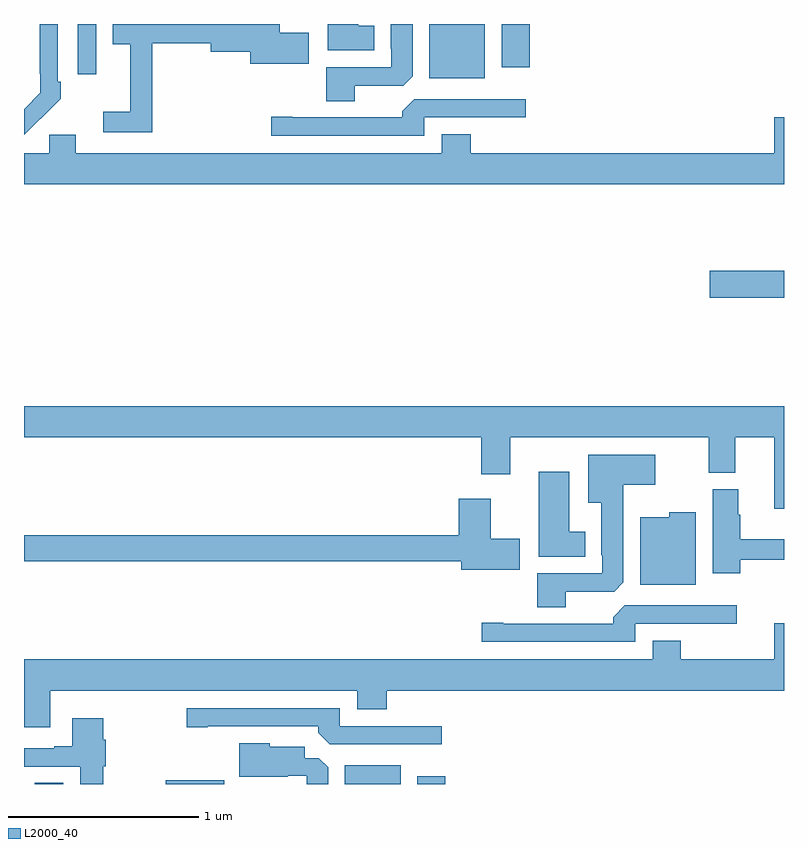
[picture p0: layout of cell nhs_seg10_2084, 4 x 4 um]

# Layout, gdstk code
import gdstk
lib = gdstk.Library(unit=1e-6, precision=1e-09)
def R(c, l, rs):  # rectangles x0, y0, x1, y1
    for r in rs: c.add(gdstk.rectangle(r[:2], r[2:], *l))
def P(c, l, *ps):  # polygons
    for p in ps: c.add(gdstk.Polygon(p, *l))
L2000_40 = (2000, 40)

nhs_seg10_2084 = lib.new_cell('nhs_seg10_2084')
R(nhs_seg10_2084, L2000_40, [(221.057,1290.5,221.206,1290.506), (221.747,1290.5,222.055,1290.52), (222.689,1290.5,222.982,1290.598), (223.07,1290.5,223.217,1290.541), (224.61,1293.059,225,1293.201), (223.133,1294.214,223.426,1294.5), (221.283,1294.236,221.379,1294.5), (223.514,1294.272,223.661,1294.5)])
P(nhs_seg10_2084, L2000_40, [(222.742,1294.176),(222.996,1294.176),(223.045,1294.225),(223.045,1294.5),(222.929,1294.5),(222.929,1294.369),(222.933,1294.369),(222.933,1294.272),(222.59,1294.272),(222.59,1294.093),(222.742,1294.093)],
  [(221.675,1294.4),(221.984,1294.4),(221.984,1294.355),(222.191,1294.355),(222.191,1294.292),(222.499,1294.292),(222.499,1294.455),(222.346,1294.455),(222.346,1294.5),(221.468,1294.5),(221.468,1294.394),(221.558,1294.394),(221.558,1294.039),(221.418,1294.039),(221.418,1293.93),(221.675,1293.93)],
  [(222.844,1294.492),(222.76,1294.492),(222.76,1294.5),(222.599,1294.5),(222.599,1294.361),(222.844,1294.361)],
  [(221.087,1294.003),(221.088,1294.002),(221.193,1294.107),(221.193,1294.195),(221.178,1294.195),(221.178,1294.5),(221.082,1294.5),(221.082,1294.237),(221.085,1294.237),(221.085,1294.137),(221,1294.052),(221,1293.916)],
  [(223.107,1294.008),(223.642,1294.008),(223.642,1294.104),(223.053,1294.104),(222.992,1294.042),(222.992,1294.008),(222.412,1294.008),(222.412,1294.013),(222.3,1294.013),(222.3,1293.912),(223.107,1293.912)],
  [(225,1294.009),(224.948,1294.009),(224.948,1293.82),(223.352,1293.82),(223.352,1293.919),(223.199,1293.919),(223.199,1293.82),(221.272,1293.82),(221.272,1293.918),(221.133,1293.918),(221.133,1293.82),(221,1293.82),(221,1293.656),(225,1293.656)],
  [(225,1292.488),(221,1292.488),(221,1292.324),(223.406,1292.324),(223.406,1292.13),(223.558,1292.13),(223.558,1292.324),(224.603,1292.324),(224.603,1292.137),(224.743,1292.137),(224.743,1292.324),(224.948,1292.324),(224.948,1291.95),(225,1291.95)],
  [(223.852,1291.512),(224.106,1291.512),(224.155,1291.561),(224.155,1292.075),(224.323,1292.075),(224.323,1292.233),(223.97,1292.233),(223.97,1291.979),(224.039,1291.979),(224.039,1291.705),(224.043,1291.705),(224.043,1291.608),(223.7,1291.608),(223.7,1291.429),(223.852,1291.429)],
  [(223.954,1291.828),(223.87,1291.828),(223.87,1292.143),(223.709,1292.143),(223.709,1291.697),(223.954,1291.697)],
  [(224.771,1291.68),(225,1291.68),(225,1291.789),(224.771,1291.789),(224.771,1291.916),(224.758,1291.916),(224.758,1292.052),(224.624,1292.052),(224.624,1291.608),(224.771,1291.608)],
  [(223.609,1291.791),(223.456,1291.791),(223.456,1292.002),(223.289,1292.002),(223.289,1291.808),(221,1291.808),(221,1291.672),(223.301,1291.672),(223.301,1291.628),(223.609,1291.628)],
  [(224.536,1291.93),(224.397,1291.93),(224.397,1291.903),(224.243,1291.903),(224.243,1291.55),(224.536,1291.55)],
  [(224.217,1291.344),(224.752,1291.344),(224.752,1291.44),(224.163,1291.44),(224.102,1291.378),(224.102,1291.344),(223.522,1291.344),(223.522,1291.349),(223.41,1291.349),(223.41,1291.248),(224.217,1291.248)],
  [(221.137,1290.992),(222.755,1290.992),(222.755,1290.893),(222.908,1290.893),(222.908,1290.992),(225,1290.992),(225,1291.345),(224.948,1291.345),(224.948,1291.156),(224.457,1291.156),(224.457,1291.255),(224.309,1291.255),(224.309,1291.156),(221,1291.156),(221,1290.798),(221.137,1290.798)],
  [(223.198,1290.804),(222.663,1290.804),(222.663,1290.9),(221.856,1290.9),(221.856,1290.799),(221.968,1290.799),(221.968,1290.804),(222.548,1290.804),(222.548,1290.77),(222.609,1290.708),(223.198,1290.708)],
  [(221.416,1290.594),(221.429,1290.594),(221.429,1290.734),(221.416,1290.734),(221.416,1290.847),(221.255,1290.847),(221.255,1290.7),(221.159,1290.7),(221.159,1290.687),(221,1290.687),(221,1290.591),(221.297,1290.591),(221.297,1290.5),(221.416,1290.5)],
  [(222.601,1290.587),(222.552,1290.636),(222.478,1290.636),(222.478,1290.697),(222.294,1290.697),(222.294,1290.715),(222.134,1290.715),(222.134,1290.539),(222.389,1290.539),(222.389,1290.543),(222.489,1290.543),(222.489,1290.5),(222.601,1290.5)])

lib.write_gds('nhs_seg10_2084.gds')
